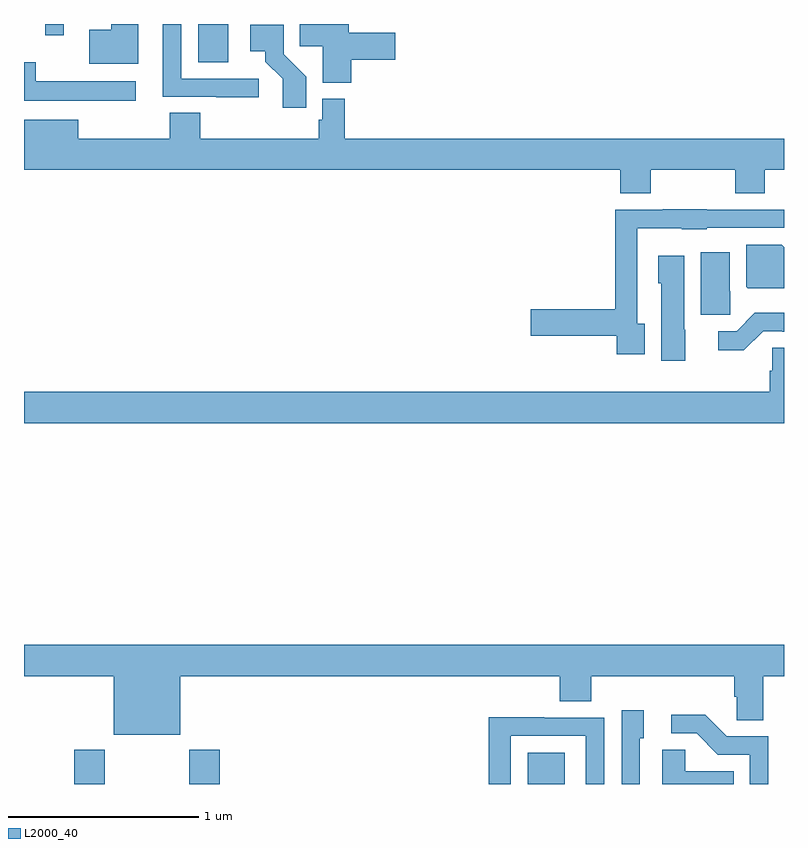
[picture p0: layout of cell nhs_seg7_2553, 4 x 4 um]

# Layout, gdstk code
import gdstk
lib = gdstk.Library(unit=1e-6, precision=1e-09)
def R(c, l, rs):  # rectangles x0, y0, x1, y1
    for r in rs: c.add(gdstk.rectangle(r[:2], r[2:], *l))
def P(c, l, *ps):  # polygons
    for p in ps: c.add(gdstk.Polygon(p, *l))
L2000_40 = (2000, 40)

nhs_seg7_2553 = lib.new_cell('nhs_seg7_2553')
R(nhs_seg7_2553, L2000_40, [(277.265,1048,277.425,1048.18), (277.87,1048,278.03,1048.18), (279.65,1048,279.847,1048.165), (277.916,1051.798,278.074,1052), (277.112,1051.941,277.21,1052)])
P(nhs_seg7_2553, L2000_40, [(278.723,1051.813),(278.953,1051.813),(278.953,1051.955),(278.71,1051.955),(278.71,1052),(278.452,1052),(278.452,1051.882),(278.573,1051.882),(278.573,1051.691),(278.723,1051.691)],
  [(278.236,1051.713),(277.827,1051.713),(277.827,1052),(277.73,1052),(277.73,1051.617),(278.011,1051.617),(278.011,1051.615),(278.236,1051.615)],
  [(277.6,1052),(277.46,1052),(277.46,1051.969),(277.343,1051.969),(277.343,1051.79),(277.6,1051.79)],
  [(278.486,1051.722),(278.367,1051.841),(278.367,1051.996),(278.19,1051.996),(278.19,1051.856),(278.27,1051.856),(278.27,1051.801),(278.361,1051.711),(278.361,1051.56),(278.486,1051.56)],
  [(277.588,1051.699),(277.063,1051.699),(277.063,1051.798),(277,1051.798),(277,1051.595),(277.588,1051.595)],
  [(280.299,1051.232),(280.744,1051.232),(280.744,1051.108),(280.899,1051.108),(280.899,1051.232),(281,1051.232),(281,1051.396),(278.687,1051.396),(278.687,1051.606),(278.571,1051.606),(278.571,1051.497),(278.551,1051.497),(278.551,1051.396),(277.928,1051.396),(277.928,1051.532),(277.768,1051.532),(277.768,1051.396),(277.285,1051.396),(277.285,1051.495),(277,1051.495),(277,1051.232),(280.139,1051.232),(280.139,1051.108),(280.299,1051.108)],
  [(280.267,1050.422),(280.227,1050.422),(280.227,1050.926),(280.461,1050.926),(280.461,1050.92),(280.593,1050.92),(280.593,1050.927),(281,1050.927),(281,1051.023),(280.593,1051.023),(280.593,1051.025),(280.361,1051.025),(280.361,1051.023),(280.111,1051.023),(280.111,1050.5),(279.666,1050.5),(279.666,1050.358),(280.119,1050.358),(280.119,1050.261),(280.267,1050.261)],
  [(281,1050.826),(280.988,1050.838),(280.802,1050.838),(280.802,1050.616),(280.81,1050.608),(281,1050.608)],
  [(280.718,1050.594),(280.714,1050.594),(280.714,1050.799),(280.562,1050.799),(280.562,1050.471),(280.718,1050.471)],
  [(280.48,1050.39),(280.474,1050.39),(280.474,1050.781),(280.337,1050.781),(280.337,1050.636),(280.355,1050.636),(280.355,1050.228),(280.48,1050.228)],
  [(280.89,1050.384),(280.99,1050.384),(280.99,1050.381),(281,1050.381),(281,1050.479),(280.847,1050.479),(280.752,1050.384),(280.653,1050.384),(280.653,1050.282),(280.788,1050.282)],
  [(281,1050.296),(280.938,1050.296),(280.938,1050.174),(280.925,1050.174),(280.925,1050.064),(277,1050.064),(277,1049.9),(281,1049.9)],
  [(277.822,1048.568),(279.821,1048.568),(279.821,1048.435),(279.986,1048.435),(279.986,1048.568),(280.739,1048.568),(280.739,1048.459),(280.752,1048.459),(280.752,1048.336),(280.891,1048.336),(280.891,1048.568),(281,1048.568),(281,1048.732),(277,1048.732),(277,1048.568),(277.472,1048.568),(277.472,1048.259),(277.822,1048.259)],
  [(280.242,1048.242),(280.261,1048.242),(280.261,1048.387),(280.146,1048.387),(280.146,1048),(280.242,1048)],
  [(280.917,1048.251),(280.698,1048.251),(280.585,1048.364),(280.407,1048.364),(280.407,1048.266),(280.541,1048.266),(280.652,1048.155),(280.821,1048.155),(280.821,1048),(280.917,1048)],
  [(279.561,1048.254),(279.957,1048.254),(279.957,1048),(280.053,1048),(280.053,1048.35),(279.737,1048.35),(279.737,1048.352),(279.445,1048.352),(279.445,1048),(279.561,1048)],
  [(280.736,1048.066),(280.479,1048.066),(280.479,1048.181),(280.358,1048.181),(280.358,1048),(280.736,1048)])

lib.write_gds('nhs_seg7_2553.gds')
